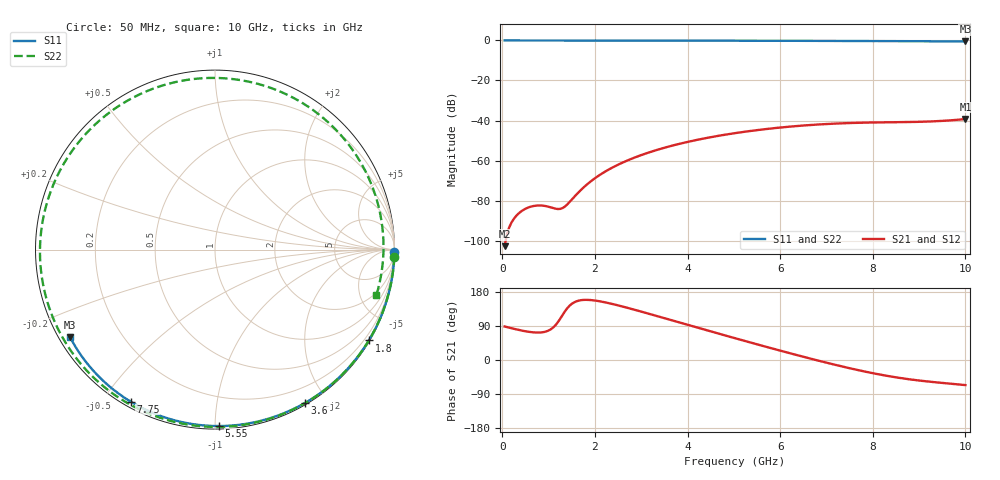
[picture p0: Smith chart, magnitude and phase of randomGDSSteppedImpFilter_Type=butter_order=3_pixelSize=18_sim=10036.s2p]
! freq	dB(S11)	phase(S11)	dB(S12)	phase(S12)
!  dB(S21)	phase(S21)	dB(S22)	phase(S22)
!S-par simulation data
#  GHz  S  DB  R 50
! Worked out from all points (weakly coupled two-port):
!   200 points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, 50 MHz to 10 GHz, reference 50 ohm
!   highest |S21| = -39.28 dB at 10 GHz (marker M1); lowest = -102.8 dB at 50 MHz (marker M2)
!   lowest |S11| = -0.5 dB at 10 GHz (marker M3), VSWR 34.55, Z = 1.56 - j14 ohm
!   |S11| at or under -10 dB: nowhere
!   |S22| runs from -0.6 to 0.0 dB; largest |S21 - S12| = 0
!   S11 on the Smith chart (normalised r, x): 50 MHz: open; 1.8 GHz: 0.03, -3.66; 3.6 GHz: 0.02, -1.75; 5.55 GHz: 0.02, -1.02; 7.75 GHz: 0.02, -0.59; 10 GHz: 0.03, -0.28
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0.05  -0.01 -0.9  -102.77 88.4  -102.77 88.4  -0.00 -2.3
0.7  -0.01 -12.0  -82.60 72.7  -82.60 72.7  -0.04 -31.7
1.1  -0.02 -18.8  -83.74 85.9  -83.74 85.9  -0.06 -49.1
1.45  -0.03 -24.7  -80.79 143.0  -80.79 143.0  -0.08 -63.8
1.75  -0.04 -29.7  -73.53 158.5  -73.53 158.5  -0.09 -76.0
1.8  -0.04 -30.6  -72.50 158.8  -72.50 158.8  -0.09 -77.9
2.1  -0.05 -35.5  -67.26 155.0  -67.26 155.0  -0.11 -89.6
2.45  -0.05 -41.3  -62.64 145.7  -62.64 145.7  -0.12 -102.5
3.4  -0.08 -56.5  -54.27 113.9  -54.27 113.9  -0.15 -135.3
3.6  -0.08 -59.6  -52.97 106.9  -52.97 106.9  -0.16 -141.8
4.35  -0.10 -71.1  -48.99 80.8  -48.99 80.8  -0.19 -165.6
5.05  -0.13 -81.5  -46.22 56.6  -46.22 56.6  -0.23 172.6
5.55  -0.15 -88.7  -44.65 39.7  -44.65 39.7  -0.26 156.8
6.1  -0.17 -96.5  -43.28 21.5  -43.28 21.5  -0.30 138.8
6.7  -0.20 -104.8  -42.17 2.2  -42.17 2.2  -0.34 118.3
7.25  -0.24 -112.3  -41.47 -14.5  -41.47 -14.5  -0.37 98.3
7.75  -0.28 -119.0  -41.10 -28.5  -41.10 -28.5  -0.40 79.1
8.35  -0.33 -127.0  -40.88 -42.7  -40.88 -42.7  -0.44 54.8
8.8  -0.37 -132.9  -40.75 -51.1  -40.75 -51.1  -0.48 35.8
9.2  -0.41 -138.2  -40.51 -56.9  -40.51 -56.9  -0.51 18.6
9.6  -0.46 -143.5  -40.04 -61.6  -40.04 -61.6  -0.55 1.3
10  -0.50 -148.8  -39.28 -66.2  -39.28 -66.2  -0.59 -15.8
